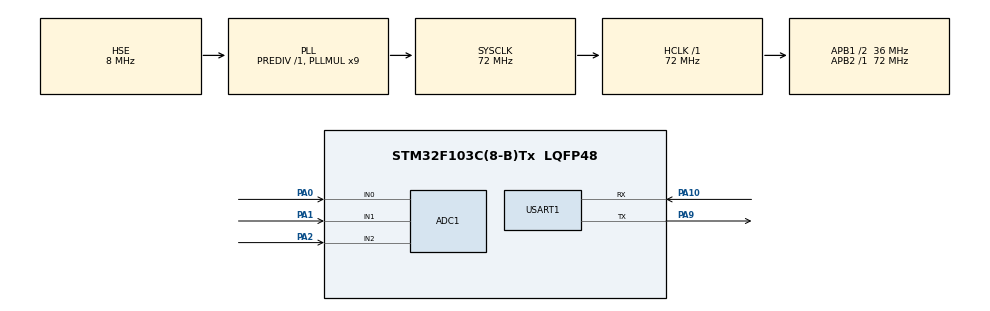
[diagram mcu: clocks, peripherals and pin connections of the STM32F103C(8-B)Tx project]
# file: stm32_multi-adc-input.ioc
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ADC1.Channel-0\#ChannelRegularConversion=ADC_CHANNEL_0
ADC1.Channel-1\#ChannelRegularConversion=ADC_CHANNEL_1
ADC1.Channel-2\#ChannelRegularConversion=ADC_CHANNEL_2
ADC1.ContinuousConvMode=ENABLE
ADC1.DiscontinuousConvMode=DISABLE
ADC1.NbrOfConversion=3
ADC1.NbrOfConversionFlag=1
ADC1.Rank-0\#ChannelRegularConversion=1
ADC1.Rank-1\#ChannelRegularConversion=2
ADC1.Rank-2\#ChannelRegularConversion=3
ADC1.SamplingTime-0\#ChannelRegularConversion=ADC_SAMPLETIME_239CYCLES_5
ADC1.SamplingTime-1\#ChannelRegularConversion=ADC_SAMPLETIME_239CYCLES_5
ADC1.SamplingTime-2\#ChannelRegularConversion=ADC_SAMPLETIME_239CYCLES_5
ADC1.master=1
Dma.ADC1.0.Direction=DMA_PERIPH_TO_MEMORY
Dma.ADC1.0.Instance=DMA1_Channel1
Dma.ADC1.0.MemDataAlignment=DMA_MDATAALIGN_HALFWORD
Dma.ADC1.0.MemInc=DMA_MINC_ENABLE
Dma.ADC1.0.Mode=DMA_CIRCULAR
Dma.ADC1.0.PeriphDataAlignment=DMA_PDATAALIGN_HALFWORD
Dma.ADC1.0.PeriphInc=DMA_PINC_DISABLE
Dma.ADC1.0.Priority=DMA_PRIORITY_LOW
Dma.Request0=ADC1
Mcu.Family=STM32F1
Mcu.Name=STM32F103C(8-B)Tx
Mcu.Package=LQFP48
NVIC.ADC1_2_IRQn=true\:1\:0\:true\:false\:true\:true\:true\:true
NVIC.DMA1_Channel1_IRQn=true\:0\:0\:false\:false\:true\:false\:true\:true
NVIC.PriorityGroup=NVIC_PRIORITYGROUP_4
PA0-WKUP.Signal=ADCx_IN0
PA1.Signal=ADCx_IN1
PA10.Mode=Asynchronous
PA10.Signal=USART1_RX
PA13.Mode=Serial_Wire
PA13.Signal=SYS_JTMS-SWDIO
PA14.Mode=Serial_Wire
PA14.Signal=SYS_JTCK-SWCLK
PA2.Signal=ADCx_IN2
PA9.Mode=Asynchronous
PA9.Signal=USART1_TX
PD0-OSC_IN.Mode=HSE-External-Oscillator
PD0-OSC_IN.Signal=RCC_OSC_IN
PD1-OSC_OUT.Mode=HSE-External-Oscillator
PD1-OSC_OUT.Signal=RCC_OSC_OUT
ProjectManager.HeapSize=0x200
ProjectManager.StackSize=0x400
ProjectManager.TargetToolchain=Makefile
RCC.ADCPresc=RCC_ADCPCLK2_DIV6
RCC.AHBFreq_Value=72000000
RCC.APB1CLKDivider=RCC_HCLK_DIV2
RCC.APB1Freq_Value=36000000
RCC.APB1TimFreq_Value=72000000
RCC.APB2Freq_Value=72000000
RCC.APB2TimFreq_Value=72000000
RCC.HCLKFreq_Value=72000000
RCC.PLLMUL=RCC_PLL_MUL9
RCC.PLLSourceVirtual=RCC_PLLSOURCE_HSE
RCC.SYSCLKFreq_VALUE=72000000
RCC.SYSCLKSource=RCC_SYSCLKSOURCE_PLLCLK
RCC.USBFreq_Value=72000000
SH.ADCx_IN0.0=ADC1_IN0,IN0
SH.ADCx_IN1.0=ADC1_IN1,IN1
SH.ADCx_IN2.0=ADC1_IN2,IN2
USART1.VirtualMode=VM_ASYNC
board=custom

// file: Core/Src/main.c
/* USER CODE BEGIN Header */
/**
  ******************************************************************************
  * @file           : main.c
  * @brief          : Main program body
  ******************************************************************************
  * @attention
  *
  * Copyright (c) 2025 STMicroelectronics.
  * All rights reserved.
  *
  * This software is licensed under terms that can be found in the LICENSE file
  * in the root directory of this software component.
  * If no LICENSE file comes with this software, it is provided AS-IS.
  *
  ******************************************************************************
  */
/* USER CODE END Header */
#include "main.h"

/* USER CODE BEGIN Includes */
#include "string.h"
#include <stdio.h>

/* USER CODE END Includes */

ADC_HandleTypeDef hadc1;
DMA_HandleTypeDef hdma_adc1;

UART_HandleTypeDef huart1;

void SystemClock_Config(void);
static void MX_GPIO_Init(void);
static void MX_DMA_Init(void);
static void MX_USART1_UART_Init(void);
static void MX_ADC1_Init(void);

/* USER CODE BEGIN 0 */

uint16_t adc[3];
uint16_t adc1;
uint16_t adc2;
uint16_t adc3;

char msg[25];

int ADCFinis = 0;
int count = 0;
void HAL_ADC_ConvCpltCallback(ADC_HandleTypeDef* hadc)
{
  ADCFinis = 1;
}

/* USER CODE END 0 */

int main(void)
{

  /* MCU Configuration--------------------------------------------------------*/

  /* Reset of all peripherals, Initializes the Flash interface and the Systick. */
  HAL_Init();

  /* Configure the system clock */
  SystemClock_Config();

  /* Initialize all configured peripherals */
  MX_GPIO_Init();
  MX_DMA_Init();
  MX_USART1_UART_Init();
  MX_ADC1_Init();
  /* USER CODE BEGIN 2 */

  HAL_ADC_Start_DMA(&hadc1, adc, 3);

  /* USER CODE END 2 */

  /* Infinite loop */
  while (1)
  {

    /* USER CODE BEGIN 3 */
    count++;

    //Use IF Function if Use DMA Normal Mode, Commenr if use Circular Mode
    // if(ADCFinis == 1)
    // {
    //   //Start data
    //   ADCFinis = 0;
    //   HAL_ADC_Start_DMA(&hadc1, adc,3);
    // }

    adc1 = adc[0];
    adc2 = adc[1];
    adc3 = adc[2];

    sprintf(msg, "ADC1: %hu  " , adc1);
    HAL_UART_Transmit(&huart1, (uint8_t*)msg, strlen(msg), HAL_MAX_DELAY);

    sprintf(msg, "ADC2: %hu  " , adc2);
    HAL_UART_Transmit(&huart1, (uint8_t*)msg, strlen(msg), HAL_MAX_DELAY);

    sprintf(msg, "ADC3: %hu  \r\n" , adc3);
    HAL_UART_Transmit(&huart1, (uint8_t*) msg, strlen(msg), HAL_MAX_DELAY);

    HAL_Delay(500);
  }
  /* USER CODE END 3 */
}

void SystemClock_Config(void)
{
  RCC_OscInitTypeDef RCC_OscInitStruct = {0};
  RCC_ClkInitTypeDef RCC_ClkInitStruct = {0};
  RCC_PeriphCLKInitTypeDef PeriphClkInit = {0};

  /** Initializes the RCC Oscillators according to the specified parameters
  * in the RCC_OscInitTypeDef structure.
  */
  RCC_OscInitStruct.OscillatorType = RCC_OSCILLATORTYPE_HSE;
  RCC_OscInitStruct.HSEState = RCC_HSE_ON;
  RCC_OscInitStruct.HSEPredivValue = RCC_HSE_PREDIV_DIV1;
  RCC_OscInitStruct.HSIState = RCC_HSI_ON;
  RCC_OscInitStruct.PLL.PLLState = RCC_PLL_ON;
  RCC_OscInitStruct.PLL.PLLSource = RCC_PLLSOURCE_HSE;
  RCC_OscInitStruct.PLL.PLLMUL = RCC_PLL_MUL9;
  if (HAL_RCC_OscConfig(&RCC_OscInitStruct) != HAL_OK)
  {
    Error_Handler();
  }

  /** Initializes the CPU, AHB and APB buses clocks
  */
  RCC_ClkInitStruct.ClockType = RCC_CLOCKTYPE_HCLK|RCC_CLOCKTYPE_SYSCLK
                              |RCC_CLOCKTYPE_PCLK1|RCC_CLOCKTYPE_PCLK2;
  RCC_ClkInitStruct.SYSCLKSource = RCC_SYSCLKSOURCE_PLLCLK;
  RCC_ClkInitStruct.AHBCLKDivider = RCC_SYSCLK_DIV1;
  RCC_ClkInitStruct.APB1CLKDivider = RCC_HCLK_DIV2;
  RCC_ClkInitStruct.APB2CLKDivider = RCC_HCLK_DIV1;

  if (HAL_RCC_ClockConfig(&RCC_ClkInitStruct, FLASH_LATENCY_2) != HAL_OK)
  {
    Error_Handler();
  }
  PeriphClkInit.PeriphClockSelection = RCC_PERIPHCLK_ADC;
  PeriphClkInit.AdcClockSelection = RCC_ADCPCLK2_DIV6;
  if (HAL_RCCEx_PeriphCLKConfig(&PeriphClkInit) != HAL_OK)
  {
    Error_Handler();
  }
}

static void MX_ADC1_Init(void)
{

  ADC_ChannelConfTypeDef sConfig = {0};

  /** Common config
  */
  hadc1.Instance = ADC1;
  hadc1.Init.ScanConvMode = ADC_SCAN_ENABLE;
  hadc1.Init.ContinuousConvMode = ENABLE;
  hadc1.Init.DiscontinuousConvMode = DISABLE;
  hadc1.Init.ExternalTrigConv = ADC_SOFTWARE_START;
  hadc1.Init.DataAlign = ADC_DATAALIGN_RIGHT;
  hadc1.Init.NbrOfConversion = 3;
  if (HAL_ADC_Init(&hadc1) != HAL_OK)
  {
    Error_Handler();
  }

  /** Configure Regular Channel
  */
  sConfig.Channel = ADC_CHANNEL_0;
  sConfig.Rank = ADC_REGULAR_RANK_1;
  sConfig.SamplingTime = ADC_SAMPLETIME_239CYCLES_5;
  if (HAL_ADC_ConfigChannel(&hadc1, &sConfig) != HAL_OK)
  {
    Error_Handler();
  }

  /** Configure Regular Channel
  */
  sConfig.Channel = ADC_CHANNEL_1;
  sConfig.Rank = ADC_REGULAR_RANK_2;
  if (HAL_ADC_ConfigChannel(&hadc1, &sConfig) != HAL_OK)
  {
    Error_Handler();
  }

  /** Configure Regular Channel
  */
  sConfig.Channel = ADC_CHANNEL_2;
  sConfig.Rank = ADC_REGULAR_RANK_3;
  if (HAL_ADC_ConfigChannel(&hadc1, &sConfig) != HAL_OK)
  {
    Error_Handler();
  }

}

static void MX_USART1_UART_Init(void)
{

  huart1.Instance = USART1;
  huart1.Init.BaudRate = 115200;
  huart1.Init.WordLength = UART_WORDLENGTH_8B;
  huart1.Init.StopBits = UART_STOPBITS_1;
  huart1.Init.Parity = UART_PARITY_NONE;
  huart1.Init.Mode = UART_MODE_TX_RX;
  huart1.Init.HwFlowCtl = UART_HWCONTROL_NONE;
  huart1.Init.OverSampling = UART_OVERSAMPLING_16;
  if (HAL_UART_Init(&huart1) != HAL_OK)
  {
    Error_Handler();
  }

}

static void MX_DMA_Init(void)
{

  /* DMA controller clock enable */
  __HAL_RCC_DMA1_CLK_ENABLE();

  /* DMA interrupt init */
  /* DMA1_Channel1_IRQn interrupt configuration */
  HAL_NVIC_SetPriority(DMA1_Channel1_IRQn, 0, 0);
  HAL_NVIC_EnableIRQ(DMA1_Channel1_IRQn);

}

static void MX_GPIO_Init(void)
{

  /* GPIO Ports Clock Enable */
  __HAL_RCC_GPIOD_CLK_ENABLE();
  __HAL_RCC_GPIOA_CLK_ENABLE();

}

void Error_Handler(void)
{
  __disable_irq();
  while (1)
  {
  }
}
